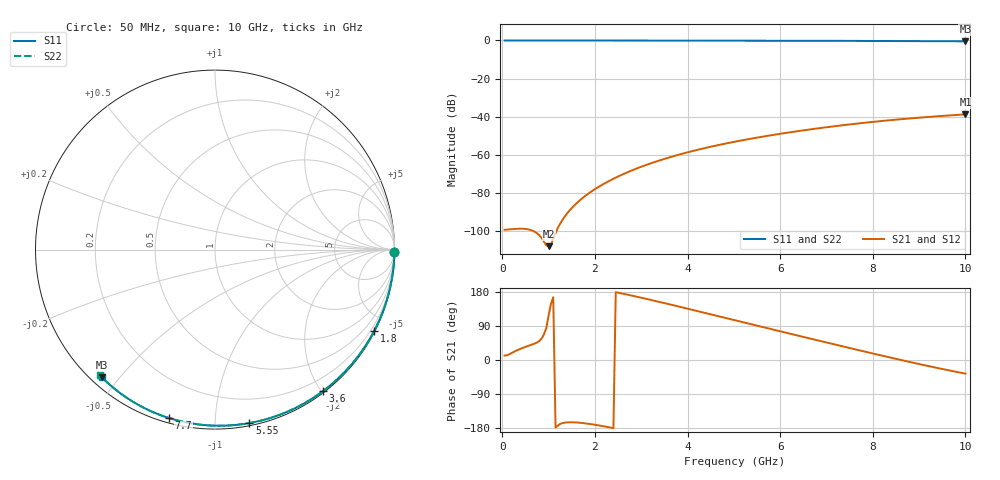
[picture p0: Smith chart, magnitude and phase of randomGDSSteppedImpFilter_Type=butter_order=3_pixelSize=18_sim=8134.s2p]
! freq	dB(S11)	phase(S11)	dB(S12)	phase(S12)
!  dB(S21)	phase(S21)	dB(S22)	phase(S22)
!S-par simulation data
#  GHz  S  DB  R 50
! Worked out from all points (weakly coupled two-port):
!   200 points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, 50 MHz to 10 GHz, reference 50 ohm
!   highest |S21| = -38.82 dB at 10 GHz (marker M1); lowest = -108.0 dB at 1 GHz (marker M2)
!   lowest |S11| = -0.4 dB at 10 GHz (marker M3), VSWR 39.34, Z = 1.53 - j22.4 ohm
!   |S11| at or under -10 dB: nowhere
!   |S22| runs from -0.5 to 0.0 dB; largest |S21 - S12| = 0
!   S11 on the Smith chart (normalised r, x): 50 MHz: open; 1.8 GHz: 0.04, -4.17; 3.6 GHz: 0.02, -2.02; 5.55 GHz: 0.02, -1.22; 7.7 GHz: 0.02, -0.76; 10 GHz: 0.03, -0.45
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0.05  -0.00 -0.8  -99.40 11.7  -99.40 11.7  -0.00 -0.8
0.5  -0.01 -7.6  -98.96 34.6  -98.96 34.6  -0.01 -7.6
1  -0.02 -15.1  -108.01 117.3  -108.01 117.3  -0.02 -15.2
1.75  -0.03 -26.2  -82.42 -166.6  -82.42 -166.6  -0.03 -26.4
1.8  -0.03 -27.0  -81.47 -167.3  -81.47 -167.3  -0.03 -27.2
1.85  -0.04 -27.7  -80.58 -168.1  -80.58 -168.1  -0.04 -27.9
1.9  -0.04 -28.4  -79.71 -169.0  -79.71 -169.0  -0.04 -28.6
2.05  -0.04 -30.6  -77.32 -171.9  -77.32 -171.9  -0.04 -30.8
2.25  -0.04 -33.5  -74.50 -176.3  -74.50 -176.3  -0.04 -33.8
2.65  -0.05 -39.3  -69.76 173.9  -69.76 173.9  -0.05 -39.6
3  -0.06 -44.3  -66.32 164.4  -66.32 164.4  -0.06 -44.6
3.4  -0.07 -49.9  -62.95 153.1  -62.95 153.1  -0.07 -50.3
3.6  -0.07 -52.7  -61.45 147.3  -61.45 147.3  -0.07 -53.1
4.3  -0.09 -62.3  -56.93 126.5  -56.93 126.5  -0.09 -62.7
5.05  -0.11 -72.3  -53.02 104.0  -53.02 104.0  -0.11 -72.8
5.55  -0.13 -78.8  -50.80 89.1  -50.80 89.1  -0.13 -79.3
6.1  -0.15 -85.7  -48.63 72.7  -48.63 72.7  -0.15 -86.3
6.7  -0.18 -93.2  -46.52 55.0  -46.52 55.0  -0.18 -93.8
7.7  -0.24 -105.2  -43.53 25.8  -43.53 25.8  -0.24 -105.8
8.35  -0.29 -112.8  -41.91 7.2  -41.91 7.2  -0.29 -113.5
9.15  -0.36 -122.0  -40.25 -14.7  -40.25 -14.7  -0.36 -122.7
10  -0.44 -131.7  -38.82 -36.0  -38.82 -36.0  -0.45 -132.3
